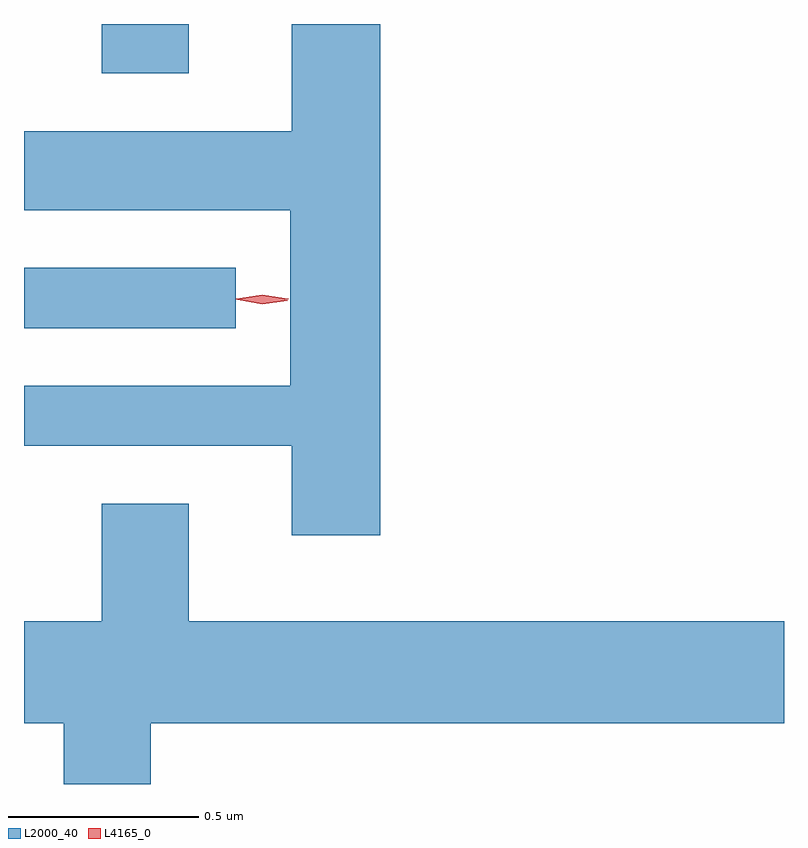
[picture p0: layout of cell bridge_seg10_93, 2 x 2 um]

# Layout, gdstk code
import gdstk
lib = gdstk.Library(unit=1e-6, precision=1e-09)
def R(c, l, rs):  # rectangles x0, y0, x1, y1
    for r in rs: c.add(gdstk.rectangle(r[:2], r[2:], *l))
def P(c, l, *ps):  # polygons
    for p in ps: c.add(gdstk.Polygon(p, *l))
L2000_40 = (2000, 40)
L4165_0 = (4165, 0)

bridge_seg10_93 = lib.new_cell('bridge_seg10_93')
R(bridge_seg10_93, L2000_40, [(1562.466,2166.016,1563.023,2166.174), (1562.671,2166.686,1562.899,2166.816)])
P(bridge_seg10_93, L2000_40, [(1563.404,2166.816),(1563.171,2166.816),(1563.171,2166.534),(1562.466,2166.534),(1562.466,2166.326),(1563.166,2166.326),(1563.166,2165.864),(1562.466,2165.864),(1562.466,2165.706),(1563.171,2165.706),(1563.171,2165.471),(1563.404,2165.471)],
  [(1562.799,2164.976),(1564.466,2164.976),(1564.466,2165.244),(1562.899,2165.244),(1562.899,2165.554),(1562.671,2165.554),(1562.671,2165.244),(1562.466,2165.244),(1562.466,2164.976),(1562.571,2164.976),(1562.571,2164.816),(1562.799,2164.816)])
P(bridge_seg10_93, L4165_0, [(1563.093,2166.083),(1563.024,2166.092),(1563.023,2166.093),(1563.024,2166.093),(1563.093,2166.103),(1563.162,2166.093),(1563.163,2166.093),(1563.162,2166.092)],
  [(1563.093,2166.079),(1563.028,2166.09),(1563.027,2166.09),(1563.028,2166.091),(1563.093,2166.099),(1563.159,2166.089),(1563.16,2166.088),(1563.159,2166.088)])

lib.write_gds('bridge_seg10_93.gds')
